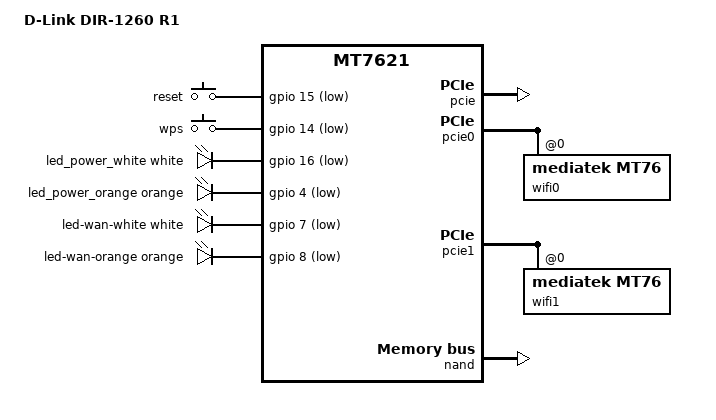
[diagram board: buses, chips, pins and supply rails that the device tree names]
// SPDX-License-Identifier: GPL-2.0-or-later OR MIT

#include "mt7621.dtsi"
#include <dt-bindings/gpio/gpio.h>
#include <dt-bindings/input/input.h>
#include <dt-bindings/leds/common.h>

/ {
	compatible = "dlink,dir-1260-r1", "mediatek,mt7621-soc";
	model = "D-Link DIR-1260 R1";

	aliases {
		label-mac-device = &gmac0;
		led-boot = &led_power_orange;
		led-failsafe = &led_power_orange;
		led-running = &led_power_white;
		led-upgrade = &led_power_orange;
	};

	keys {
		compatible = "gpio-keys";

		reset {
			label = "reset";
			gpios = <&gpio 15 GPIO_ACTIVE_LOW>;
			linux,code = <KEY_RESTART>;
		};

		wps {
			label = "wps";
			gpios = <&gpio 14 GPIO_ACTIVE_LOW>;
			linux,code = <KEY_WPS_BUTTON>;
		};
	};

	leds {
		compatible = "gpio-leds";

		led_power_white: led-power-white {
			function = LED_FUNCTION_POWER;
			color = <LED_COLOR_ID_WHITE>;
			gpios = <&gpio 16 GPIO_ACTIVE_LOW>;
		};

		led_power_orange: led-power-orange {
			function = LED_FUNCTION_POWER;
			color = <LED_COLOR_ID_ORANGE>;
			gpios = <&gpio 4 GPIO_ACTIVE_LOW>;
		};

		led-wan-white {
			function = LED_FUNCTION_WAN;
			color = <LED_COLOR_ID_WHITE>;
			gpios = <&gpio 7 GPIO_ACTIVE_LOW>;
		};

		led-wan-orange {
			function = LED_FUNCTION_WAN;
			color = <LED_COLOR_ID_ORANGE>;
			gpios = <&gpio 8 GPIO_ACTIVE_LOW>;
		};
	};
};

&pcie {
	status = "okay";
};

&pcie0 {
	wifi0: wifi@0,0 {
		compatible = "mediatek,mt76";
		reg = <0x0000 0 0 0 0>;
		ieee80211-freq-limit = <2400000 2500000>;
		nvmem-cells = <&eeprom_factory_0>, <&macaddr_factory_4 0>;
		nvmem-cell-names = "eeprom", "mac-address";
		led {
			led-active-low;
		};
	};
};

&pcie1 {
	wifi1: wifi@0,0 {
		compatible = "mediatek,mt76";
		reg = <0x0000 0 0 0 0>;
		ieee80211-freq-limit = <5000000 6000000>;
		nvmem-cells = <&eeprom_factory_8000>, <&macaddr_factory_8004 0>;
		nvmem-cell-names = "eeprom", "mac-address";
		led {
			led-active-low;
		};
	};
};

&gmac0 {
	nvmem-cells = <&macaddr_factory_4 (-1)>;
	nvmem-cell-names = "mac-address";
};

&switch0 {
	ports {
		port@0 {
			status = "okay";
			label = "lan4";
		};

		port@1 {
			status = "okay";
			label = "lan3";
		};

		port@2 {
			status = "okay";
			label = "lan2";
		};

		port@3 {
			status = "okay";
			label = "lan1";
		};

		wan: port@4 {
			status = "okay";
			label = "wan";
			nvmem-cells = <&macaddr_factory_4 1>;
			nvmem-cell-names = "mac-address";
		};
	};
};

&state_default {
	gpio {
		groups = "i2c", "uart3", "jtag", "wdt";
		function = "gpio";
	};
};

&nand {
	status = "okay";

	partitions {
		compatible = "fixed-partitions";
		#address-cells = <1>;
		#size-cells = <1>;

		partition@0 {
			label = "Bootloader";
			reg = <0x0 0x80000>;
			read-only;
		};

		partition@80000 {
			label = "config";
			reg = <0x80000 0x80000>;
		};

		factory: partition@100000 {
			label = "factory";
			reg = <0x100000 0x40000>;
		};

		partition@140000 {
			label = "firmware";
			compatible = "denx,uimage";
			reg = <0x140000 0x7e40000>;
		};

		partition@7f80000 {
			label = "reserve";
			reg = <0x7f80000 0x80000>;
		};
	};
};

&factory {
	nvmem-layout {
		compatible = "fixed-layout";
		#address-cells = <1>;
		#size-cells = <1>;

		eeprom_factory_0: eeprom@0 {
			reg = <0x0 0x4da8>;
		};

		eeprom_factory_8000: eeprom@8000 {
			reg = <0x8000 0x4da8>;
		};

		macaddr_factory_4: macaddr@4 {
			compatible = "mac-base";
			reg = <0x4 0x6>;
			#nvmem-cell-cells = <1>;
		};

		macaddr_factory_8004: macaddr@8004 {
			compatible = "mac-base";
			reg = <0x8004 0x6>;
			#nvmem-cell-cells = <1>;
		};
	};
};
